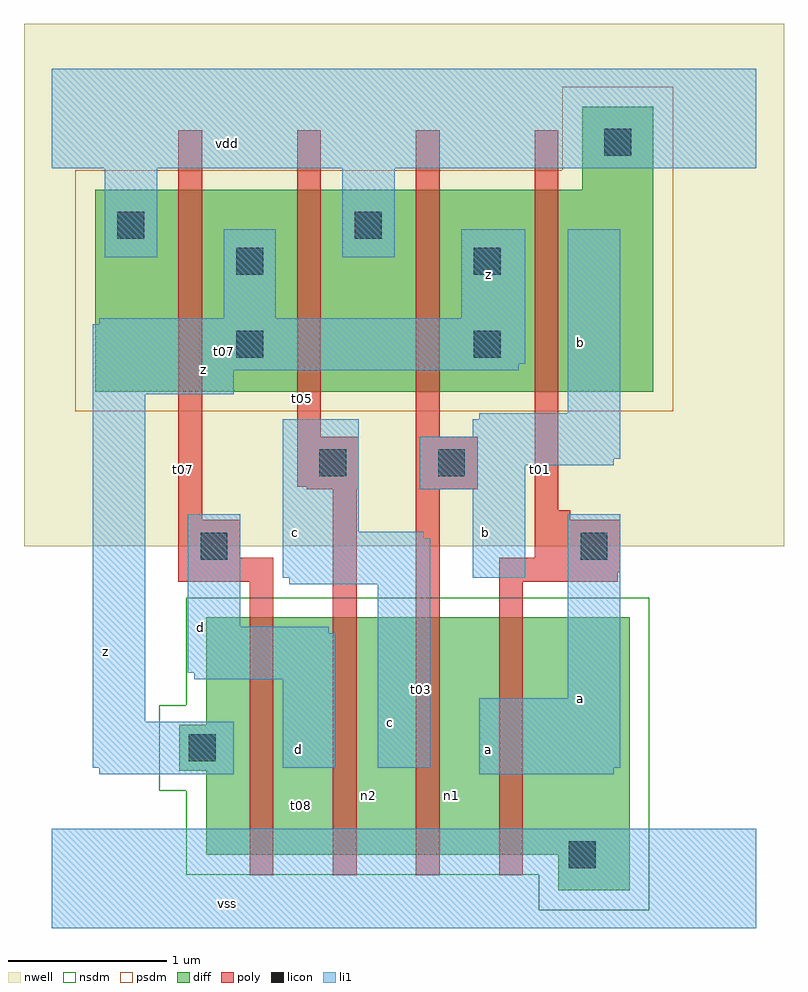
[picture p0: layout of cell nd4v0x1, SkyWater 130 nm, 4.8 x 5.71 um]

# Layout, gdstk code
import gdstk
lib = gdstk.Library(unit=1e-6, precision=5e-09)
def R(c, l, rs):  # rectangles x0, y0, x1, y1
    for r in rs: c.add(gdstk.rectangle(r[:2], r[2:], *l))
nwell = (64, 20)
diff = (65, 20)
poly = (66, 20)
licon = (66, 44)
li1 = (67, 20)
nsdm = (93, 44)
psdm = (94, 20)

nd4v0x1 = lib.new_cell('nd4v0x1')
R(nd4v0x1, nwell, [(-0.3,2.4,4.5,5.7)])
R(nd4v0x1, diff, [(3.075,0.225,3.525,1.95), (0.85,0.45,3.525,1.95), (0.68,0.98,3.525,1.27), (0.15,3.375,3.675,4.65), (3.225,3.375,3.675,5.175)])
R(nd4v0x1, poly, [(1.125,0.32,1.275,2.325), (1.65,0.32,1.8,3.09), (2.175,0.32,2.325,5.025), (2.7,0.32,2.85,2.325), (0.675,2.175,1.065,2.565), (0.675,2.175,0.825,5.025), (0.675,2.175,1.275,2.325), (2.7,2.175,3.45,2.325), (2.925,2.175,3.075,5.025), (2.925,2.175,3.45,2.565), (2.925,2.175,3.15,2.625), (2.925,2.235,3.465,2.565), (1.485,2.76,1.815,3.09), (2.175,2.76,2.565,3.09), (1.425,2.775,1.815,3.09), (1.425,2.775,1.575,5.025)])
R(nd4v0x1, licon, [(3.14,0.365,3.31,0.535), (0.74,1.04,0.91,1.21), (0.815,2.315,0.985,2.485), (3.215,2.315,3.385,2.485), (1.565,2.84,1.735,3.01), (2.315,2.84,2.485,3.01), (1.04,3.59,1.21,3.76), (2.54,3.59,2.71,3.76), (1.04,4.115,1.21,4.285), (2.54,4.115,2.71,4.285), (0.29,4.34,0.46,4.51), (1.79,4.34,1.96,4.51), (3.365,4.865,3.535,5.035)])
R(nd4v0x1, li1, [(-0.125,-0.015,4.325,0.615), (-0.125,-0.015,4.325,0.615), (0.175,0.96,0.465,3.84), (0.175,0.96,1.025,1.29), (2.575,0.96,3.425,1.44), (3.135,0.96,3.425,2.6), (0.135,1,0.465,3.8), (0.135,1,1.025,1.29), (1.335,1,1.665,1.85), (1.335,1,1.625,1.89), (1.935,1,2.225,2.49), (1.935,1,2.265,2.45), (2.575,1,3.465,1.44), (3.135,1,3.465,2.6), (1.375,1.035,1.625,1.365), (2.575,1.035,2.825,1.365), (0.135,1.075,0.465,3.725), (1.935,1.075,2.265,1.925), (3.135,1.075,3.465,2.525), (0.775,1.56,1.665,1.85), (0.775,1.56,1.625,1.89), (0.775,1.56,1.065,2.6), (0.735,1.6,1.625,1.89), (0.735,1.6,1.065,2.6), (0.735,1.6,1.665,1.85), (0.735,1.675,1.065,2.525), (1.375,2.16,2.265,2.45), (1.375,2.16,2.225,2.49), (1.375,2.16,1.815,3.2), (1.335,2.2,2.225,2.49), (1.335,2.2,2.265,2.45), (1.335,2.2,1.815,3.2), (2.535,2.2,2.865,3.2), (2.575,2.2,2.865,3.24), (1.335,2.275,1.665,3.125), (2.535,2.275,2.865,3.125), (2.2,2.76,2.865,3.09), (2.2,2.91,3.425,3.09), (2.535,2.91,3.425,3.2), (2.575,2.91,3.425,3.24), (3.135,2.91,3.425,4.4), (2.535,2.95,3.465,3.2), (2.575,2.95,3.465,3.24), (3.135,2.95,3.465,4.4), (0.135,3.36,1.025,3.8), (0.175,3.36,1.025,3.84), (0.775,3.435,1.025,3.765), (3.135,3.475,3.465,4.325), (0.135,3.51,2.825,3.8), (0.175,3.51,2.825,3.84), (0.96,3.51,1.29,4.4), (2.46,3.51,2.825,4.4), (0.135,3.55,2.865,3.8), (0.175,3.55,2.865,3.84), (2.46,3.55,2.865,4.4), (2.575,4.035,2.825,4.365), (0.21,4.225,0.54,5.415), (1.71,4.225,2.04,5.415), (-0.125,4.785,4.325,5.415), (-0.125,4.785,4.325,5.415)])
R(nd4v0x1, nsdm, [(2.95,0.1,3.65,2.075), (3.075,0.225,3.525,1.95), (3.075,0.225,3.525,1.95), (3.08,0.305,3.37,0.595), (0.725,0.325,3.65,2.075), (1.275,0.45,1.575,1.95), (1.275,0.45,1.575,1.95), (1.8,0.45,2.1,1.95), (1.8,0.45,2.1,1.95), (2.325,0.45,2.625,1.95), (2.325,0.45,2.625,1.95), (0.555,0.855,3.65,1.395), (0.68,0.98,0.97,1.27)])
R(nd4v0x1, psdm, [(0.025,3.25,3.8,4.775), (3.1,3.25,3.8,5.3), (0.15,3.375,0.6,4.65), (0.15,3.375,0.6,4.65), (0.975,3.375,1.275,4.65), (0.975,3.375,1.275,4.65), (1.725,3.375,2.025,4.65), (1.725,3.375,2.025,4.65), (2.475,3.375,2.775,4.65), (2.475,3.375,2.775,4.65), (3.225,3.375,3.675,5.175), (3.225,3.375,3.675,5.175), (0.98,3.53,1.27,3.82), (2.48,3.53,2.77,3.82), (0.98,4.055,1.27,4.345), (2.48,4.055,2.77,4.345), (0.23,4.28,0.52,4.57), (1.73,4.28,2.02,4.57), (3.305,4.805,3.595,5.095)])
nd4v0x1.add(gdstk.Label('t08', (1.455,0.76), layer=93, texttype=44))
nd4v0x1.add(gdstk.Label('t07', (0.965,3.63), layer=94, texttype=20))
nd4v0x1.add(gdstk.Label('n3', (1.515,0.825), layer=65, texttype=20))
nd4v0x1.add(gdstk.Label('t07', (1.03,3.69), layer=65, texttype=20))
nd4v0x1.add(gdstk.Label('n1', (2.4,0.825), layer=93, texttype=44))
nd4v0x1.add(gdstk.Label('n2', (1.875,0.825), layer=93, texttype=44))
nd4v0x1.add(gdstk.Label('n3', (1.35,0.825), layer=93, texttype=44))
nd4v0x1.add(gdstk.Label('t07', (0.71,2.885), layer=66, texttype=20))
nd4v0x1.add(gdstk.Label('t05', (1.46,3.335), layer=66, texttype=20))
nd4v0x1.add(gdstk.Label('t03', (2.21,1.495), layer=66, texttype=20))
nd4v0x1.add(gdstk.Label('t01', (2.96,2.885), layer=66, texttype=20))
nd4v0x1.add(gdstk.Label('z', (0.215,1.735), layer=67, texttype=20))
nd4v0x1.add(gdstk.Label('d', (0.815,1.885), layer=67, texttype=20))
nd4v0x1.add(gdstk.Label('z', (0.835,3.515), layer=67, texttype=20))
nd4v0x1.add(gdstk.Label('c', (2.015,1.285), layer=67, texttype=20))
nd4v0x1.add(gdstk.Label('d', (1.435,1.115), layer=67, texttype=20))
nd4v0x1.add(gdstk.Label('c', (1.415,2.485), layer=67, texttype=20))
nd4v0x1.add(gdstk.Label('a', (2.635,1.115), layer=67, texttype=20))
nd4v0x1.add(gdstk.Label('b', (2.615,2.485), layer=67, texttype=20))
nd4v0x1.add(gdstk.Label('z', (2.635,4.115), layer=67, texttype=20))
nd4v0x1.add(gdstk.Label('vss', (0.985,0.14), layer=67, texttype=20))
nd4v0x1.add(gdstk.Label('a', (3.215,1.435), layer=67, texttype=20))
nd4v0x1.add(gdstk.Label('b', (3.215,3.685), layer=67, texttype=20))
nd4v0x1.add(gdstk.Label('vdd', (0.985,4.94), layer=67, texttype=20))

lib.write_gds('nd4v0x1.gds')
